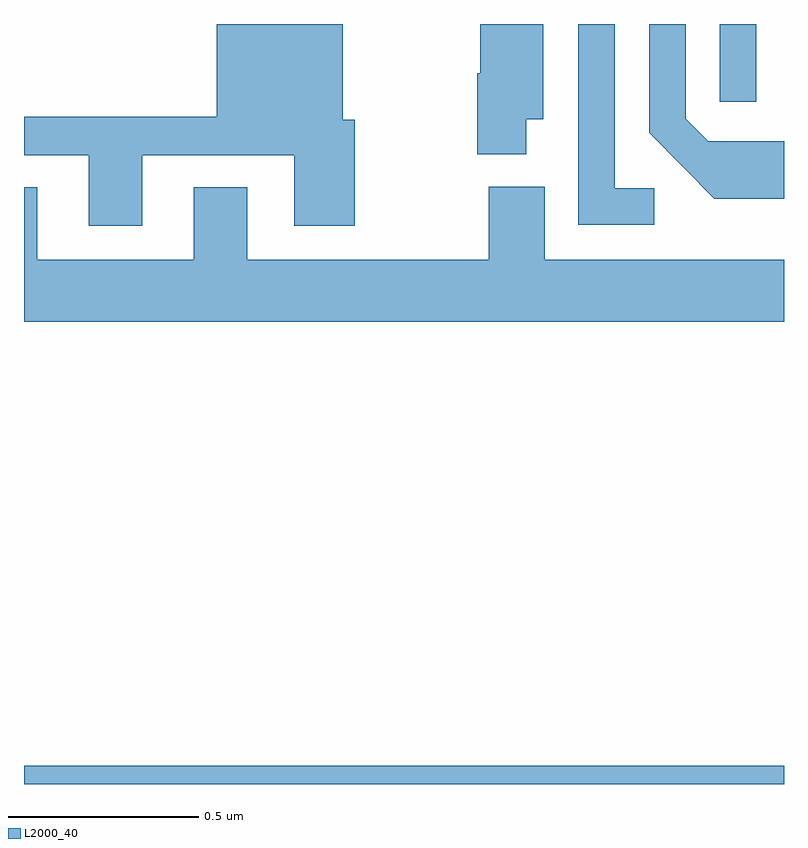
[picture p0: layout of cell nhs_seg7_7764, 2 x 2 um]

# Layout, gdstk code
import gdstk
lib = gdstk.Library(unit=1e-6, precision=1e-09)
def R(c, l, rs):  # rectangles x0, y0, x1, y1
    for r in rs: c.add(gdstk.rectangle(r[:2], r[2:], *l))
def P(c, l, *ps):  # polygons
    for p in ps: c.add(gdstk.Polygon(p, *l))
L2000_40 = (2000, 40)

nhs_seg7_7764 = lib.new_cell('nhs_seg7_7764')
R(nhs_seg7_7764, L2000_40, [(215,1066,217,1066.048), (216.831,1067.796,216.927,1068)])
P(nhs_seg7_7764, L2000_40, [(216.322,1067.75),(216.367,1067.75),(216.367,1068),(216.2,1068),(216.2,1067.871),(216.193,1067.871),(216.193,1067.657),(216.322,1067.657)],
  [(216.658,1067.568),(216.555,1067.568),(216.555,1068),(216.459,1068),(216.459,1067.472),(216.658,1067.472)],
  [(215.311,1067.655),(215.711,1067.655),(215.711,1067.469),(215.871,1067.469),(215.871,1067.748),(215.839,1067.748),(215.839,1068),(215.507,1068),(215.507,1067.756),(215,1067.756),(215,1067.655),(215.171,1067.655),(215.171,1067.469),(215.311,1067.469)],
  [(217,1067.692),(216.924,1067.692),(216.924,1067.691),(216.801,1067.691),(216.741,1067.751),(216.741,1068),(216.645,1068),(216.645,1067.714),(216.737,1067.621),(216.817,1067.54),(217,1067.54)],
  [(217,1067.38),(216.37,1067.38),(216.37,1067.572),(216.223,1067.572),(216.223,1067.38),(215.587,1067.38),(215.587,1067.57),(215.447,1067.57),(215.447,1067.38),(215.035,1067.38),(215.035,1067.57),(215,1067.57),(215,1067.216),(217,1067.216)])

lib.write_gds('nhs_seg7_7764.gds')
